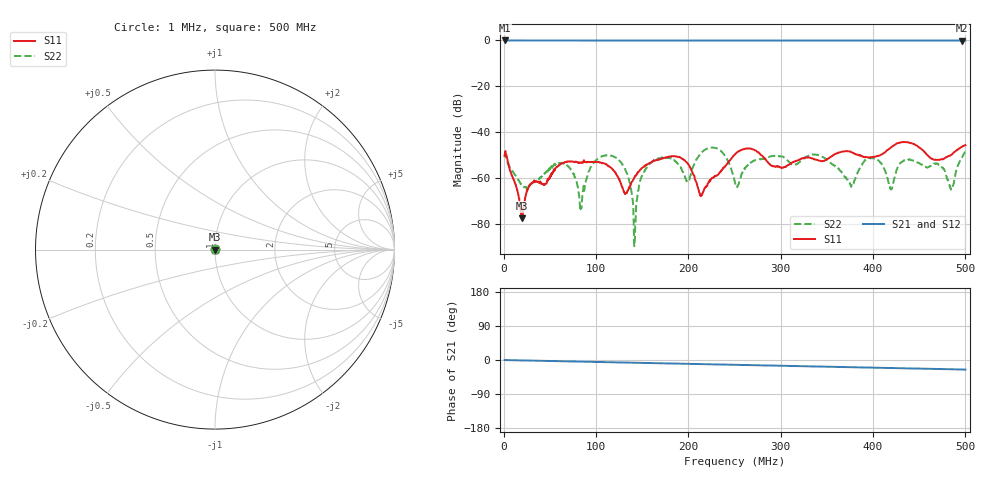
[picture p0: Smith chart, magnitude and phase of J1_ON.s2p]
! MS46122B
! 1746301/73750021
! 8/7/2023 2:59:58 PM
! C:\USERS\SPEGWAL\DOWNLOADS\SAURABH\REACH\NODES\FRONT END\MEASUREMENTS\MEASURED S-PARAMETER_07-08-2023\MS-3\P2_J1\J1_ON.S2P
! CHANNEL.1
! TR.MEASUREMENT
! CORRECTED.DATA
# GHZ S RI R 50.0
! FREQ.GHZ  S11RE  S11IM  S21RE  S21IM  S12RE  S12IM  S22RE  S22IM
!; PortSelection: Port_12
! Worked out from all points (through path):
!   2001 points, 1 MHz to 500 MHz, reference 50 ohm
!   highest |S21| = 0.00 dB at 1.25 MHz (marker M1); lowest = 0.0 dB at 496 MHz (marker M2)
!   group delay of S21, straight-line fit = 139 ps
!   lowest |S11| = -77.6 dB at 19.46 MHz (marker M3), VSWR 1.00, Z = 50 + j0.0126 ohm
!   |S11| at or under -10 dB: start of sweep to end of sweep
!   |S22| runs from -89.7 to -46.7 dB; largest |S21 - S12| = 0.0069
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0.001  -0.00181 0.00244  0.9998 -0.00366  0.9987 -0.00461  -0.000538 0.00316
0.0012495  -0.00192 0.00275  1 -0.00318  0.9996 -0.00473  -0.00082 0.00298
0.019463  4.03e-05 0.000126  0.9981 -0.0186  0.997 -0.021  0.000723 -2.6e-06
0.0641235  0.00206 -0.000545  0.9958 -0.0581  0.9948 -0.0603  0.000926 0.00189
0.084333  0.00217 0.000339  0.9944 -0.076  0.9933 -0.0777  0.000215 -5.27e-05
0.0960595  0.0018 0.00135  0.9935 -0.0857  0.9924 -0.0881  0.00165 -0.00114
0.116269  0.000846 0.00146  0.9916 -0.1035  0.9904 -0.1056  0.00301 0.000666
0.132736  0.000468 1.1e-06  0.9899 -0.1178  0.989 -0.1199  0.000709 0.00119
0.142217  0.000769 -0.000803  0.9885 -0.1261  0.9878 -0.1281  4.5e-06 -4.77e-05
0.150201  0.00119 -0.00119  0.9877 -0.1329  0.9868 -0.1352  0.000361 -0.00111
0.1674165  0.00242 -0.000645  0.9856 -0.148  0.9846 -0.1501  0.00261 -0.000588
0.199103  0.00204 0.00047  0.981 -0.175  0.9799 -0.1772  0.000845 -6.82e-05
0.214073  0.00013 -0.000409  0.9784 -0.1876  0.9774 -0.1894  0.00232 -0.00269
0.2505  0.00247 -0.00219  0.9717 -0.2189  0.9706 -0.2208  0.000613 -0.000533
0.333833  0.00185 -0.00194  0.9528 -0.2889  0.9517 -0.2912  0.00224 -0.00234
0.376747  0.00359 -0.000695  0.941 -0.3248  0.9397 -0.3272  0.000655 0.000163
0.402196  0.00178 -0.00231  0.9335 -0.3455  0.9311 -0.3504  0.00247 -0.00101
0.4169165  0.00347 -0.00246  0.929 -0.3573  0.9282 -0.3583  0.000618 -0.000486
0.438623  0.00516 -0.00301  0.9219 -0.3751  0.9205 -0.3774  -0.00138 -0.00213
0.48503  0.00289 -0.00146  0.9058 -0.4122  0.9049 -0.413  0.000559 -0.000265
0.496008  0.00303 -0.00375  0.9015 -0.4212  0.8996 -0.4244  0.000259 -0.00276
0.5  0.00278 -0.00441  0.9002 -0.4244  0.8972 -0.4292  0.000669 -0.00359
